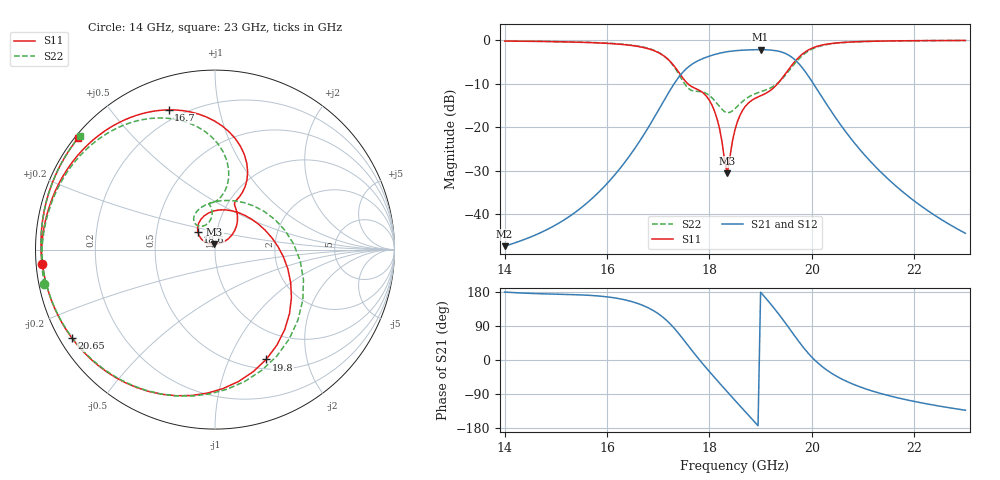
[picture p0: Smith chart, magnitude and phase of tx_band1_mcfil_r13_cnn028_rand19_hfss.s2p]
! Touchstone file exported from HFSS 3D Layout Design 2026.1.0
!  File:  D:/Work/SIM/ADS_AUTO_SIM/projects/RFSOC_RF/TX_Fillter.aedt
!  Generated:  12:36:30 AM Aug 31, 2026
!  Design:  TX_BAND1_MCFIL_R13_CNN028
!  Project:  TX_Fillter
# GHz S MA R 50.000000
! Terminal data exported
! Port[1] = Port1
! Port[2] = Port2
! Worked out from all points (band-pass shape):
!   181 points, 14 GHz to 23 GHz, reference 50 ohm
!   highest |S21| = -2.25 dB at 19 GHz (marker M1); lowest = -47.3 dB at 14 GHz (marker M2)
!   |S21| within 3 dB of the highest: 17.71 GHz to 19.73 GHz (2.023 GHz wide, 10.8 % of centre)
!   lowest |S11| = -30.6 dB at 18.35 GHz (marker M3), VSWR 1.06, Z = 49.5 + j2.9 ohm
!   |S11| at or under -10 dB: 17.57 GHz to 19.33 GHz (1.76 GHz wide, 9.54 % of centre)
!   |S22| runs from -16.7 to -0.1 dB; largest |S21 - S12| = 3.4e-14
!   S11 on the Smith chart (normalised r, x): 14 GHz: 0.02, -0.04; 16.7 GHz: 0.15, +0.71; 18.6 GHz: 0.81, +0.16; 19.8 GHz: 0.61, -1.38; 20.65 GHz: 0.03, -0.28; 23 GHz: 0.01, +0.36
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14  0.9692 -175.1  0.004333 179.2  0.004333 179.2  0.9714 -168.5
15.5  0.9378 152.1  0.01199 171.7  0.01199 171.7  0.9424 160.2
16.7  0.8203 108.3  0.07866 144.1  0.07866 144.1  0.8287 119.0
17  0.7162 90.2  0.1546 122.2  0.1546 122.2  0.7219 101.8
17.25  0.5531 72.7  0.2758 93.0  0.2758 93.0  0.5474 85.3
17.5  0.3537 64.4  0.4374 52.8  0.4374 52.8  0.3243 80.8
17.85  0.254 62.6  0.603 -6.8  0.603 -6.8  0.2544 97.4
18.15  0.1246 40.7  0.6915 -53.7  0.6915 -53.7  0.1863 95.4
18.35  0.02965 98.9  0.7315 -84.1  0.7315 -84.1  0.1463 112.0
18.5  0.09373 142.6  0.7503 -106.6  0.7503 -106.6  0.1628 125.5
18.6  0.1379 134.2  0.7587 -121.4  0.7587 -121.4  0.1858 127.5
18.8  0.1974 107.8  0.7688 -150.9  0.7688 -150.9  0.2276 119.3
19  0.2288 75.5  0.7721 178.9  0.7721 178.9  0.2543 101.9
19.2  0.2657 39.4  0.7638 147.2  0.7638 147.2  0.2828 75.6
19.45  0.3834 -6.1  0.7118 103.9  0.7118 103.9  0.3731 26.8
19.65  0.5472 -40.6  0.6057 66.5  0.6057 66.5  0.5206 -18.8
19.8  0.6752 -65.0  0.4905 39.2  0.4905 39.2  0.6477 -50.4
20  0.8009 -93.0  0.3361 7.6  0.3361 7.6  0.7806 -85.0
20.3  0.8942 -124.0  0.1789 -27.3  0.1789 -27.3  0.8848 -121.0
20.65  0.9373 -148.3  0.09054 -54.5  0.09054 -54.5  0.9343 -147.8
21.5  0.9709 176.3  0.02515 -93.9  0.02515 -93.9  0.9713 175.3
23  0.9838 140.8  0.006084 -132.6  0.006084 -132.6  0.9841 140.0
